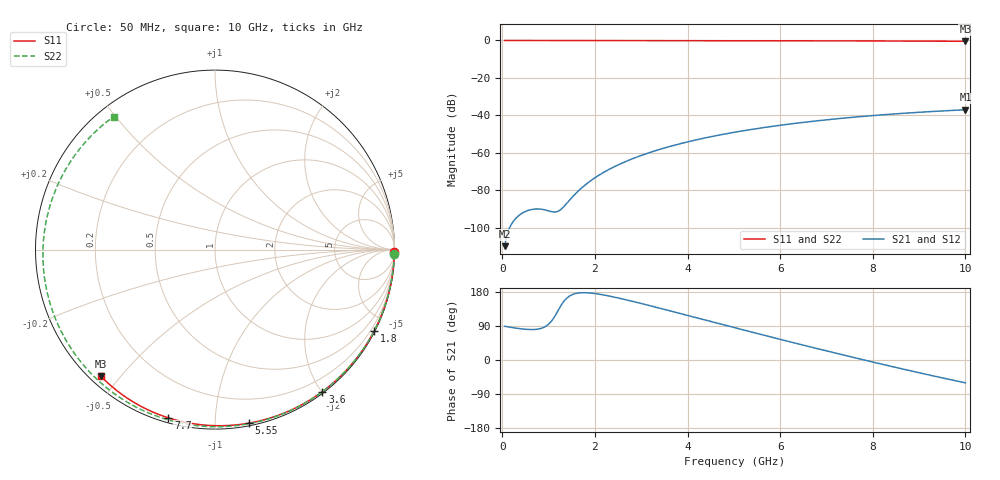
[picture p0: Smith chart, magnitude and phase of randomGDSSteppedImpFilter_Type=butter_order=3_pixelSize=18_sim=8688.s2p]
! freq	dB(S11)	phase(S11)	dB(S12)	phase(S12)
!  dB(S21)	phase(S21)	dB(S22)	phase(S22)
!S-par simulation data
#  GHz  S  DB  R 50
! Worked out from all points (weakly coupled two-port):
!   200 points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, 50 MHz to 10 GHz, reference 50 ohm
!   highest |S21| = -36.97 dB at 10 GHz (marker M1); lowest = -109.7 dB at 50 MHz (marker M2)
!   lowest |S11| = -0.4 dB at 10 GHz (marker M3), VSWR 38.93, Z = 1.54 - j22.2 ohm
!   |S11| at or under -10 dB: nowhere
!   |S22| runs from -0.6 to 0.0 dB; largest |S21 - S12| = 0
!   S11 on the Smith chart (normalised r, x): 50 MHz: open; 1.8 GHz: 0.04, -4.16; 3.6 GHz: 0.02, -2.01; 5.55 GHz: 0.02, -1.21; 7.7 GHz: 0.02, -0.76; 10 GHz: 0.03, -0.44
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0.05  -0.00 -0.8  -109.73 89.1  -109.73 89.1  -0.00 -1.4
0.4  -0.01 -6.1  -92.59 82.3  -92.59 82.3  -0.02 -11.2
0.8  -0.02 -12.1  -89.92 82.3  -89.92 82.3  -0.03 -22.4
1.2  -0.02 -18.1  -91.19 129.4  -91.19 129.4  -0.04 -33.4
1.65  -0.03 -24.8  -80.07 176.9  -80.07 176.9  -0.06 -45.5
1.75  -0.03 -26.3  -77.87 177.7  -77.87 177.7  -0.06 -48.1
1.8  -0.03 -27.1  -76.86 177.6  -76.86 177.6  -0.06 -49.4
2.1  -0.04 -31.5  -71.67 173.5  -71.67 173.5  -0.07 -57.2
2.45  -0.05 -36.6  -66.98 165.1  -66.98 165.1  -0.08 -66.2
2.9  -0.06 -43.0  -62.25 152.2  -62.25 152.2  -0.10 -77.3
3.4  -0.07 -50.1  -58.09 136.7  -58.09 136.7  -0.11 -89.3
3.6  -0.07 -52.9  -56.66 130.4  -56.66 130.4  -0.12 -94.0
4.3  -0.09 -62.5  -52.41 108.1  -52.41 108.1  -0.15 -109.9
5.05  -0.11 -72.5  -48.82 84.2  -48.82 84.2  -0.18 -126.2
5.55  -0.13 -79.0  -46.83 68.5  -46.83 68.5  -0.21 -136.7
6.15  -0.15 -86.6  -44.77 49.9  -44.77 49.9  -0.25 -149.2
6.7  -0.18 -93.5  -43.14 33.1  -43.14 33.1  -0.29 -160.5
7.2  -0.21 -99.5  -41.84 18.1  -41.84 18.1  -0.33 -170.8
7.7  -0.24 -105.5  -40.69 3.3  -40.69 3.3  -0.37 178.8
8.35  -0.29 -113.1  -39.40 -15.4  -39.40 -15.4  -0.44 165.0
9.15  -0.36 -122.4  -38.09 -37.7  -38.09 -37.7  -0.52 147.3
10  -0.45 -132.0  -36.97 -60.3  -36.97 -60.3  -0.61 127.3
